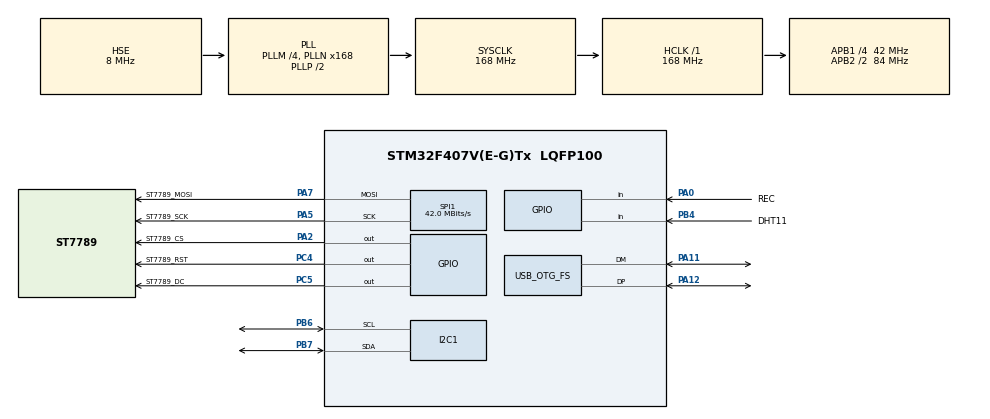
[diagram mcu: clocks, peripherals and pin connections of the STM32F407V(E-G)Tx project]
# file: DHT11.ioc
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Mcu.Family=STM32F4
Mcu.Name=STM32F407V(E-G)Tx
Mcu.Package=LQFP100
NVIC.OTG_FS_IRQn=true\:0\:0\:false\:false\:true\:false\:true\:true
NVIC.PriorityGroup=NVIC_PRIORITYGROUP_4
PA0-WKUP.GPIO_Label=REC
PA0-WKUP.Signal=GPIO_Input
PA11.Mode=Device_Only
PA11.Signal=USB_OTG_FS_DM
PA12.Mode=Device_Only
PA12.Signal=USB_OTG_FS_DP
PA13.Mode=Serial_Wire
PA13.Signal=SYS_JTMS-SWDIO
PA14.Mode=Serial_Wire
PA14.Signal=SYS_JTCK-SWCLK
PA2.GPIO_Label=ST7789_CS
PA2.Signal=GPIO_Output
PA5.GPIO_Label=ST7789_SCK
PA5.Mode=TX_Only_Simplex_Unidirect_Master
PA5.Signal=SPI1_SCK
PA7.GPIO_Label=ST7789_MOSI
PA7.Mode=TX_Only_Simplex_Unidirect_Master
PA7.Signal=SPI1_MOSI
PB4.GPIO_Label=DHT11
PB4.Signal=GPIO_Input
PB6.Mode=I2C
PB6.Signal=I2C1_SCL
PB7.Mode=I2C
PB7.Signal=I2C1_SDA
PC14-OSC32_IN.Mode=LSE-External-Oscillator
PC14-OSC32_IN.Signal=RCC_OSC32_IN
PC15-OSC32_OUT.Mode=LSE-External-Oscillator
PC15-OSC32_OUT.Signal=RCC_OSC32_OUT
PC4.GPIO_Label=ST7789_RST
PC4.Signal=GPIO_Output
PC5.GPIO_Label=ST7789_DC
PC5.Signal=GPIO_Output
PH0-OSC_IN.Mode=HSE-External-Oscillator
PH0-OSC_IN.Signal=RCC_OSC_IN
PH1-OSC_OUT.Mode=HSE-External-Oscillator
PH1-OSC_OUT.Signal=RCC_OSC_OUT
ProjectManager.HeapSize=0x200
ProjectManager.StackSize=0x400
ProjectManager.TargetToolchain=MDK-ARM V5.32
RCC.48MHZClocksFreq_Value=48000000
RCC.AHBFreq_Value=168000000
RCC.APB1CLKDivider=RCC_HCLK_DIV4
RCC.APB1Freq_Value=42000000
RCC.APB1TimFreq_Value=84000000
RCC.APB2CLKDivider=RCC_HCLK_DIV2
RCC.APB2Freq_Value=84000000
RCC.APB2TimFreq_Value=168000000
RCC.CortexFreq_Value=168000000
RCC.HCLKFreq_Value=168000000
RCC.HSE_VALUE=8000000
RCC.HSI_VALUE=16000000
RCC.PLLM=4
RCC.PLLN=168
RCC.PLLQ=7
RCC.SYSCLKFreq_VALUE=168000000
RCC.SYSCLKSource=RCC_SYSCLKSOURCE_PLLCLK
RCC.VCOOutputFreq_Value=336000000
SPI1.BaudRatePrescaler=SPI_BAUDRATEPRESCALER_2
SPI1.CalculateBaudRate=42.0 MBits/s
SPI1.Direction=SPI_DIRECTION_2LINES
SPI1.Mode=SPI_MODE_MASTER
SPI1.VirtualType=VM_MASTER
USB_DEVICE.CLASS_NAME_FS=CDC
USB_DEVICE.VirtualMode-CDC_FS=Cdc
USB_DEVICE.VirtualModeFS=Cdc_FS
USB_OTG_FS.VirtualMode=Device_Only
VP_USB_DEVICE_VS_USB_DEVICE_CDC_FS.Mode=CDC_FS
board=custom

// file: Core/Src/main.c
/* USER CODE BEGIN Header */
/**
  ******************************************************************************
  * @file           : main.c
  * @brief          : Main program body
  ******************************************************************************
  * @attention
  *
  * Copyright (c) 2022 STMicroelectronics.
  * All rights reserved.
  *
  * This software is licensed under terms that can be found in the LICENSE file
  * in the root directory of this software component.
  * If no LICENSE file comes with this software, it is provided AS-IS.
  *
  ******************************************************************************
  */
/* USER CODE END Header */
#include "main.h"
#include "usb_device.h"

/* USER CODE BEGIN Includes */
#include "DHT.h"
#include "ds3231.h"
#include "st7789.h"
#include <string.h>
#include "ee.h"
#define textColor LIGHTBLUE//0x2a1a//BLACK
#define bgColor BLACK//0xdefb
/* USER CODE END Includes */

I2C_HandleTypeDef hi2c1;

SPI_HandleTypeDef hspi1;

void SystemClock_Config(void);
static void MX_GPIO_Init(void);
static void MX_I2C1_Init(void);
static void MX_SPI1_Init(void);

int main(void)
{
  /* USER CODE BEGIN 1 */
	static DHT_sensor livingRoom = {DHT11_GPIO_Port, DHT11_Pin, DHT11, GPIO_NOPULL};
	DS3231_Init(&hi2c1);
  /* USER CODE END 1 */

  /* MCU Configuration--------------------------------------------------------*/

  /* Reset of all peripherals, Initializes the Flash interface and the Systick. */
  HAL_Init();

  /* Configure the system clock */
  SystemClock_Config();

  /* Initialize all configured peripherals */
  MX_GPIO_Init();
  MX_I2C1_Init();
  MX_SPI1_Init();
  MX_USB_DEVICE_Init();
  /* USER CODE BEGIN 2 */
	ST7789_UnSelect();
	ST7789_Init();
	ST7789_Fill_Color(bgColor);
	ST7789_WriteString(10, 30, "MAX 65.3", Font_11x18, textColor, bgColor);
	ST7789_WriteString(10, 60, "MIN 51.4", Font_11x18, textColor, bgColor);
	ST7789_WriteString(203, 40, "o", Font_7x10, textColor, bgColor);
	ST7789_WriteString(210, 40, "C", Font_11x18, textColor, bgColor);
	ST7789_WriteString(70, 108, "HUM", Font_11x18, textColor, bgColor);
	ST7789_WriteString(7, 190, "RUN TIME", Font_11x18, textColor, bgColor);
	ST7789_WriteString(100, 210, "DAYS  HR:MIN", Font_11x18, textColor, bgColor);

	ee_init();
	//ST7789_DrawFilledRectangle(0,0,100,100,RED);
  /* USER CODE END 2 */

  /* Infinite loop */
  /* USER CODE BEGIN WHILE */
	uint16_t virtualAddress =0;
	float maxTemp=0,minTemp=100;
  while (1)
  {

    /* USER CODE END WHILE */

    /* USER CODE BEGIN 3 */
		DHT_data d = DHT_getData(&livingRoom);
		maxTemp = ( maxTemp < d.temp ) ?  d.temp : maxTemp;
		minTemp = ( minTemp < d.temp ) ?  minTemp  : d.temp;

		//printf("Humidity %0.2f\n",d.hum);
		char buf[70];
		sprintf(buf, "%0.1f", d.temp);
		ST7789_WriteString(135, 40, buf, Font_16x26, textColor, bgColor);

		sprintf(buf, "%0.1f", d.hum);
		ST7789_WriteString(135, 108, buf, Font_16x26, textColor, bgColor);

		sprintf(buf, "MAX %0.1f", maxTemp);
		ST7789_WriteString(10, 30, buf, Font_11x18, textColor, bgColor);
		sprintf(buf, "MIN %0.1f", minTemp);
		ST7789_WriteString(10, 60, buf, Font_11x18, textColor, bgColor);

		sprintf(buf ,"%02d %02d:%02d" ,DS3231_GetDate(),DS3231_GetHour(),DS3231_GetMinute());
		ST7789_WriteString(105, 175, buf, Font_16x26, textColor, bgColor);
		//ST7789_WriteString(65, 150, buf, Font_11x18, textColor, bgColor);
		//sprintf(buf, "%d : %d : %d",DS3231_GetHour(),DS3231_GetMinute(),DS3231_GetSecond());
		//ST7789_WriteString(55, 180, buf, Font_11x18, textColor, bgColor);

		sprintf(buf ,"%02d/%02d/%02d -> %02d:%02d:%02d\nTemp : %0.2f\nHum : %0.2f\n" ,DS3231_GetDate(),DS3231_GetMonth(),DS3231_GetYear(),DS3231_GetHour(),DS3231_GetMinute(),DS3231_GetSecond(),d.temp,d.hum);

		ee_read(virtualAddress,strlen(buf),(uint8_t*)buf);
		if (buf[0] !=0xFF) {
			CDC_Transmit_FS((uint8_t*)buf,strlen(buf));
			virtualAddress+= strlen(buf);
		}

		HAL_Delay(1000);
  }
  /* USER CODE END 3 */
}

void SystemClock_Config(void)
{
  RCC_OscInitTypeDef RCC_OscInitStruct = {0};
  RCC_ClkInitTypeDef RCC_ClkInitStruct = {0};

  /** Configure the main internal regulator output voltage
  */
  __HAL_RCC_PWR_CLK_ENABLE();
  __HAL_PWR_VOLTAGESCALING_CONFIG(PWR_REGULATOR_VOLTAGE_SCALE1);

  /** Initializes the RCC Oscillators according to the specified parameters
  * in the RCC_OscInitTypeDef structure.
  */
  RCC_OscInitStruct.OscillatorType = RCC_OSCILLATORTYPE_HSE;
  RCC_OscInitStruct.HSEState = RCC_HSE_ON;
  RCC_OscInitStruct.PLL.PLLState = RCC_PLL_ON;
  RCC_OscInitStruct.PLL.PLLSource = RCC_PLLSOURCE_HSE;
  RCC_OscInitStruct.PLL.PLLM = 4;
  RCC_OscInitStruct.PLL.PLLN = 168;
  RCC_OscInitStruct.PLL.PLLP = RCC_PLLP_DIV2;
  RCC_OscInitStruct.PLL.PLLQ = 7;
  if (HAL_RCC_OscConfig(&RCC_OscInitStruct) != HAL_OK)
  {
    Error_Handler();
  }

  /** Initializes the CPU, AHB and APB buses clocks
  */
  RCC_ClkInitStruct.ClockType = RCC_CLOCKTYPE_HCLK|RCC_CLOCKTYPE_SYSCLK
                              |RCC_CLOCKTYPE_PCLK1|RCC_CLOCKTYPE_PCLK2;
  RCC_ClkInitStruct.SYSCLKSource = RCC_SYSCLKSOURCE_PLLCLK;
  RCC_ClkInitStruct.AHBCLKDivider = RCC_SYSCLK_DIV1;
  RCC_ClkInitStruct.APB1CLKDivider = RCC_HCLK_DIV4;
  RCC_ClkInitStruct.APB2CLKDivider = RCC_HCLK_DIV2;

  if (HAL_RCC_ClockConfig(&RCC_ClkInitStruct, FLASH_LATENCY_5) != HAL_OK)
  {
    Error_Handler();
  }
}

static void MX_I2C1_Init(void)
{

  hi2c1.Instance = I2C1;
  hi2c1.Init.ClockSpeed = 100000;
  hi2c1.Init.DutyCycle = I2C_DUTYCYCLE_2;
  hi2c1.Init.OwnAddress1 = 0;
  hi2c1.Init.AddressingMode = I2C_ADDRESSINGMODE_7BIT;
  hi2c1.Init.DualAddressMode = I2C_DUALADDRESS_DISABLE;
  hi2c1.Init.OwnAddress2 = 0;
  hi2c1.Init.GeneralCallMode = I2C_GENERALCALL_DISABLE;
  hi2c1.Init.NoStretchMode = I2C_NOSTRETCH_DISABLE;
  if (HAL_I2C_Init(&hi2c1) != HAL_OK)
  {
    Error_Handler();
  }

}

static void MX_SPI1_Init(void)
{

  /* SPI1 parameter configuration*/
  hspi1.Instance = SPI1;
  hspi1.Init.Mode = SPI_MODE_MASTER;
  hspi1.Init.Direction = SPI_DIRECTION_2LINES;
  hspi1.Init.DataSize = SPI_DATASIZE_8BIT;
  hspi1.Init.CLKPolarity = SPI_POLARITY_LOW;
  hspi1.Init.CLKPhase = SPI_PHASE_1EDGE;
  hspi1.Init.NSS = SPI_NSS_SOFT;
  hspi1.Init.BaudRatePrescaler = SPI_BAUDRATEPRESCALER_2;
  hspi1.Init.FirstBit = SPI_FIRSTBIT_MSB;
  hspi1.Init.TIMode = SPI_TIMODE_DISABLE;
  hspi1.Init.CRCCalculation = SPI_CRCCALCULATION_DISABLE;
  hspi1.Init.CRCPolynomial = 10;
  if (HAL_SPI_Init(&hspi1) != HAL_OK)
  {
    Error_Handler();
  }

}

static void MX_GPIO_Init(void)
{
  GPIO_InitTypeDef GPIO_InitStruct = {0};

  /* GPIO Ports Clock Enable */
  __HAL_RCC_GPIOC_CLK_ENABLE();
  __HAL_RCC_GPIOH_CLK_ENABLE();
  __HAL_RCC_GPIOA_CLK_ENABLE();
  __HAL_RCC_GPIOB_CLK_ENABLE();

  /*Configure GPIO pin Output Level */
  HAL_GPIO_WritePin(ST7789_CS_GPIO_Port, ST7789_CS_Pin, GPIO_PIN_RESET);

  /*Configure GPIO pin Output Level */
  HAL_GPIO_WritePin(GPIOC, ST7789_RST_Pin|ST7789_DC_Pin, GPIO_PIN_RESET);

  /*Configure GPIO pin : REC_Pin */
  GPIO_InitStruct.Pin = REC_Pin;
  GPIO_InitStruct.Mode = GPIO_MODE_INPUT;
  GPIO_InitStruct.Pull = GPIO_NOPULL;
  HAL_GPIO_Init(REC_GPIO_Port, &GPIO_InitStruct);

  /*Configure GPIO pin : ST7789_CS_Pin */
  GPIO_InitStruct.Pin = ST7789_CS_Pin;
  GPIO_InitStruct.Mode = GPIO_MODE_OUTPUT_PP;
  GPIO_InitStruct.Pull = GPIO_NOPULL;
  GPIO_InitStruct.Speed = GPIO_SPEED_FREQ_LOW;
  HAL_GPIO_Init(ST7789_CS_GPIO_Port, &GPIO_InitStruct);

  /*Configure GPIO pins : ST7789_RST_Pin ST7789_DC_Pin */
  GPIO_InitStruct.Pin = ST7789_RST_Pin|ST7789_DC_Pin;
  GPIO_InitStruct.Mode = GPIO_MODE_OUTPUT_PP;
  GPIO_InitStruct.Pull = GPIO_NOPULL;
  GPIO_InitStruct.Speed = GPIO_SPEED_FREQ_LOW;
  HAL_GPIO_Init(GPIOC, &GPIO_InitStruct);

  /*Configure GPIO pin : DHT11_Pin */
  GPIO_InitStruct.Pin = DHT11_Pin;
  GPIO_InitStruct.Mode = GPIO_MODE_INPUT;
  GPIO_InitStruct.Pull = GPIO_NOPULL;
  HAL_GPIO_Init(DHT11_GPIO_Port, &GPIO_InitStruct);

}

/* USER CODE BEGIN 4 */

int fputc(int ch, FILE *f)
{
  ITM_SendChar(ch);
  return(ch);
}

/* USER CODE END 4 */

void Error_Handler(void)
{
  __disable_irq();
  while (1)
  {
  }
}
